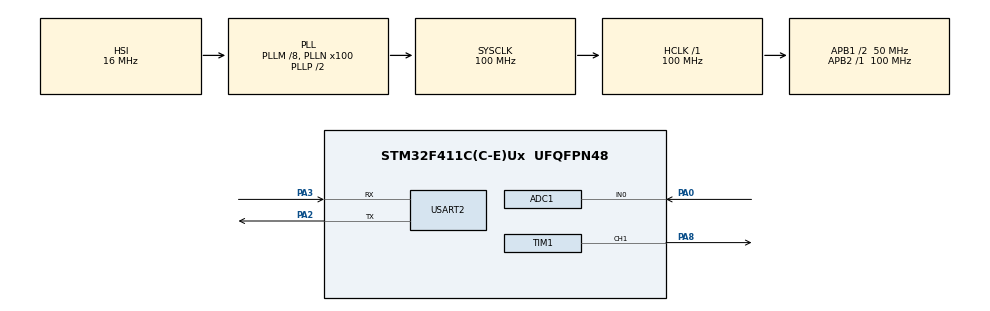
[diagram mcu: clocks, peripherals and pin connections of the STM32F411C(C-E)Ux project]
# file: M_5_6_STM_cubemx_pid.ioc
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ADC1.Channel-0\#ChannelRegularConversion=ADC_CHANNEL_0
ADC1.NbrOfConversionFlag=1
ADC1.Rank-0\#ChannelRegularConversion=1
ADC1.SamplingTime-0\#ChannelRegularConversion=ADC_SAMPLETIME_3CYCLES
ADC1.master=1
Mcu.Family=STM32F4
Mcu.Name=STM32F411C(C-E)Ux
Mcu.Package=UFQFPN48
NVIC.PriorityGroup=NVIC_PRIORITYGROUP_4
NVIC.TIM2_IRQn=true\:0\:0\:false\:false\:true\:true\:true\:true
NVIC.TIM3_IRQn=true\:0\:0\:false\:false\:true\:true\:true\:true
PA0-WKUP.Signal=ADCx_IN0
PA13.Mode=Serial_Wire
PA13.Signal=SYS_JTMS-SWDIO
PA14.Mode=Serial_Wire
PA14.Signal=SYS_JTCK-SWCLK
PA2.Mode=Asynchronous
PA2.Signal=USART2_TX
PA3.Mode=Asynchronous
PA3.Signal=USART2_RX
PA8.Signal=S_TIM1_CH1
PC14-OSC32_IN.Mode=LSE-External-Oscillator
PC14-OSC32_IN.Signal=RCC_OSC32_IN
PC15-OSC32_OUT.Mode=LSE-External-Oscillator
PC15-OSC32_OUT.Signal=RCC_OSC32_OUT
PH0\ -\ OSC_IN.Mode=HSE-External-Oscillator
PH0\ -\ OSC_IN.Signal=RCC_OSC_IN
PH1\ -\ OSC_OUT.Mode=HSE-External-Oscillator
PH1\ -\ OSC_OUT.Signal=RCC_OSC_OUT
ProjectManager.HeapSize=0x200
ProjectManager.StackSize=0x400
ProjectManager.TargetToolchain=STM32CubeIDE
RCC.48MHZClocksFreq_Value=50000000
RCC.AHBFreq_Value=100000000
RCC.APB1CLKDivider=RCC_HCLK_DIV2
RCC.APB1Freq_Value=50000000
RCC.APB1TimFreq_Value=100000000
RCC.APB2Freq_Value=100000000
RCC.APB2TimFreq_Value=100000000
RCC.CortexFreq_Value=100000000
RCC.HCLKFreq_Value=100000000
RCC.HSE_VALUE=25000000
RCC.HSI_VALUE=16000000
RCC.PLLM=8
RCC.PLLN=100
RCC.SYSCLKFreq_VALUE=100000000
RCC.SYSCLKSource=RCC_SYSCLKSOURCE_PLLCLK
RCC.VCOOutputFreq_Value=200000000
SH.ADCx_IN0.0=ADC1_IN0,IN0
SH.S_TIM1_CH1.0=TIM1_CH1,PWM Generation1 CH1
TIM1.Channel-PWM\ Generation1\ CH1=TIM_CHANNEL_1
TIM2.Period=9999
TIM2.Prescaler=9
USART2.VirtualMode=VM_ASYNC
VP_TIM1_VS_ClockSourceINT.Mode=Internal
VP_TIM2_VS_ClockSourceINT.Mode=Internal
VP_TIM3_VS_ClockSourceINT.Mode=Internal
board=custom

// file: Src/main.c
/* USER CODE BEGIN Header */
/**
 ******************************************************************************
 * @file           : main.c
 * @brief          : Main program body
 ******************************************************************************
 * @attention
 *
 * Copyright (c) 2026 STMicroelectronics.
 * All rights reserved.
 *
 * This software is licensed under terms that can be found in the LICENSE file
 * in the root directory of this software component.
 * If no LICENSE file comes with this software, it is provided AS-IS.
 *
 ******************************************************************************
 */
/* USER CODE END Header */
#include "main.h"

/* USER CODE BEGIN Includes */
#include "stdio.h"
#include "string.h"

/* USER CODE END Includes */

ADC_HandleTypeDef hadc1;

TIM_HandleTypeDef htim1;
TIM_HandleTypeDef htim2;
TIM_HandleTypeDef htim3;

UART_HandleTypeDef huart2;

/* USER CODE BEGIN PV */
char trans_str[128] = {
    0,
};
uint16_t adc = 0;
int setpoint = 2300;
float dt = 0.01;
float Kp = 10.0;  // 5.0
float Ki = 0.000; // 0.0001
float Kd = 0.000; // 0.005
int P = 0;
int I = 0;
int D = 0;
int err = 0;
int err0 = 0;
int errSUM = 0;
int out = 0;
int pwm = 0;
int ccr = 0;
volatile uint8_t pid_flag = 0;
volatile uint8_t print_flag = 0;
/* USER CODE END PV */

void SystemClock_Config(void);
static void MX_GPIO_Init(void);
static void MX_ADC1_Init(void);
static void MX_TIM1_Init(void);
static void MX_TIM2_Init(void);
static void MX_TIM3_Init(void);
static void MX_USART2_UART_Init(void);

int main(void)
{

  /* MCU Configuration--------------------------------------------------------*/

  /* Reset of all peripherals, Initializes the Flash interface and the Systick. */
  HAL_Init();

  /* Configure the system clock */
  SystemClock_Config();

  /* Initialize all configured peripherals */
  MX_GPIO_Init();
  MX_ADC1_Init();
  MX_TIM1_Init();
  MX_TIM2_Init();
  MX_TIM3_Init();
  MX_USART2_UART_Init();
  /* USER CODE BEGIN 2 */
  HAL_TIM_PWM_Start(&htim1, TIM_CHANNEL_1);
  HAL_TIM_Base_Start_IT(&htim2);
  HAL_TIM_Base_Start_IT(&htim3);

  /* USER CODE END 2 */

  /* Infinite loop */
  /* USER CODE BEGIN WHILE */
  while (1)
  {
    if (pid_flag)
    {
      pid_flag = 0;

      HAL_ADC_Start(&hadc1);

      if (HAL_ADC_PollForConversion(&hadc1, 1) == HAL_OK)
      {
        adc = HAL_ADC_GetValue(&hadc1);
      }

      // Розрахунок помилки
      err = setpoint - adc;

      // Інтегральна сумма помилок
      errSUM += err;

      // Пропорційна складова
      P = Kp * err;

      // Інтегральна складова
      I = Ki * errSUM;

      // Диференційна складова
      D = Kd * ((err - err0) / dt);

      // PID
      pwm = P + I + D;

      // Обмеження PWM
      if (pwm < 0)
        pwm = 0;

      if (pwm > 4095)
        pwm = 4095;

      // PWM
      TIM1->CCR1 = pwm * 16;
      // Для контроля
      ccr = TIM1->CCR1;
      // предыдущая ошибка
      err0 = err;
    }

    if (print_flag)
    {
      print_flag = 0;
      snprintf(trans_str, sizeof(trans_str), "adc = %d, err = %d,  pwm = %d, ccr = %d, P = %d, I = %d\r\n", adc, err, pwm, ccr, P, I);
      HAL_UART_Transmit(&huart2, (uint8_t *)trans_str, strlen(trans_str), 1000);
    }

    /* USER CODE END WHILE */

  }
}

void SystemClock_Config(void)
{
  RCC_OscInitTypeDef RCC_OscInitStruct = {0};
  RCC_ClkInitTypeDef RCC_ClkInitStruct = {0};

  /** Configure the main internal regulator output voltage
   */
  __HAL_RCC_PWR_CLK_ENABLE();
  __HAL_PWR_VOLTAGESCALING_CONFIG(PWR_REGULATOR_VOLTAGE_SCALE1);

  /** Initializes the RCC Oscillators according to the specified parameters
   * in the RCC_OscInitTypeDef structure.
   */
  RCC_OscInitStruct.OscillatorType = RCC_OSCILLATORTYPE_HSI;
  RCC_OscInitStruct.HSIState = RCC_HSI_ON;
  RCC_OscInitStruct.HSICalibrationValue = RCC_HSICALIBRATION_DEFAULT;
  RCC_OscInitStruct.PLL.PLLState = RCC_PLL_ON;
  RCC_OscInitStruct.PLL.PLLSource = RCC_PLLSOURCE_HSI;
  RCC_OscInitStruct.PLL.PLLM = 8;
  RCC_OscInitStruct.PLL.PLLN = 100;
  RCC_OscInitStruct.PLL.PLLP = RCC_PLLP_DIV2;
  RCC_OscInitStruct.PLL.PLLQ = 4;
  if (HAL_RCC_OscConfig(&RCC_OscInitStruct) != HAL_OK)
  {
    Error_Handler();
  }

  /** Initializes the CPU, AHB and APB buses clocks
   */
  RCC_ClkInitStruct.ClockType = RCC_CLOCKTYPE_HCLK | RCC_CLOCKTYPE_SYSCLK | RCC_CLOCKTYPE_PCLK1 | RCC_CLOCKTYPE_PCLK2;
  RCC_ClkInitStruct.SYSCLKSource = RCC_SYSCLKSOURCE_PLLCLK;
  RCC_ClkInitStruct.AHBCLKDivider = RCC_SYSCLK_DIV1;
  RCC_ClkInitStruct.APB1CLKDivider = RCC_HCLK_DIV2;
  RCC_ClkInitStruct.APB2CLKDivider = RCC_HCLK_DIV1;

  if (HAL_RCC_ClockConfig(&RCC_ClkInitStruct, FLASH_LATENCY_3) != HAL_OK)
  {
    Error_Handler();
  }
}

static void MX_ADC1_Init(void)
{

  ADC_ChannelConfTypeDef sConfig = {0};

  /** Configure the global features of the ADC (Clock, Resolution, Data Alignment and number of conversion)
   */
  hadc1.Instance = ADC1;
  hadc1.Init.ClockPrescaler = ADC_CLOCK_SYNC_PCLK_DIV4;
  hadc1.Init.Resolution = ADC_RESOLUTION_12B;
  hadc1.Init.ScanConvMode = DISABLE;
  hadc1.Init.ContinuousConvMode = DISABLE;
  hadc1.Init.DiscontinuousConvMode = DISABLE;
  hadc1.Init.ExternalTrigConvEdge = ADC_EXTERNALTRIGCONVEDGE_NONE;
  hadc1.Init.ExternalTrigConv = ADC_SOFTWARE_START;
  hadc1.Init.DataAlign = ADC_DATAALIGN_RIGHT;
  hadc1.Init.NbrOfConversion = 1;
  hadc1.Init.DMAContinuousRequests = DISABLE;
  hadc1.Init.EOCSelection = ADC_EOC_SINGLE_CONV;
  if (HAL_ADC_Init(&hadc1) != HAL_OK)
  {
    Error_Handler();
  }

  /** Configure for the selected ADC regular channel its corresponding rank in the sequencer and its sample time.
   */
  sConfig.Channel = ADC_CHANNEL_0;
  sConfig.Rank = 1;
  sConfig.SamplingTime = ADC_SAMPLETIME_3CYCLES;
  if (HAL_ADC_ConfigChannel(&hadc1, &sConfig) != HAL_OK)
  {
    Error_Handler();
  }
}

static void MX_TIM1_Init(void)
{

  TIM_ClockConfigTypeDef sClockSourceConfig = {0};
  TIM_MasterConfigTypeDef sMasterConfig = {0};
  TIM_OC_InitTypeDef sConfigOC = {0};
  TIM_BreakDeadTimeConfigTypeDef sBreakDeadTimeConfig = {0};

  htim1.Instance = TIM1;
  htim1.Init.Prescaler = 0;
  htim1.Init.CounterMode = TIM_COUNTERMODE_UP;
  htim1.Init.Period = 65535;
  htim1.Init.ClockDivision = TIM_CLOCKDIVISION_DIV1;
  htim1.Init.RepetitionCounter = 0;
  htim1.Init.AutoReloadPreload = TIM_AUTORELOAD_PRELOAD_DISABLE;
  if (HAL_TIM_Base_Init(&htim1) != HAL_OK)
  {
    Error_Handler();
  }
  sClockSourceConfig.ClockSource = TIM_CLOCKSOURCE_INTERNAL;
  if (HAL_TIM_ConfigClockSource(&htim1, &sClockSourceConfig) != HAL_OK)
  {
    Error_Handler();
  }
  if (HAL_TIM_PWM_Init(&htim1) != HAL_OK)
  {
    Error_Handler();
  }
  sMasterConfig.MasterOutputTrigger = TIM_TRGO_RESET;
  sMasterConfig.MasterSlaveMode = TIM_MASTERSLAVEMODE_DISABLE;
  if (HAL_TIMEx_MasterConfigSynchronization(&htim1, &sMasterConfig) != HAL_OK)
  {
    Error_Handler();
  }
  sConfigOC.OCMode = TIM_OCMODE_PWM1;
  sConfigOC.Pulse = 0;
  sConfigOC.OCPolarity = TIM_OCPOLARITY_HIGH;
  sConfigOC.OCNPolarity = TIM_OCNPOLARITY_HIGH;
  sConfigOC.OCFastMode = TIM_OCFAST_DISABLE;
  sConfigOC.OCIdleState = TIM_OCIDLESTATE_RESET;
  sConfigOC.OCNIdleState = TIM_OCNIDLESTATE_RESET;
  if (HAL_TIM_PWM_ConfigChannel(&htim1, &sConfigOC, TIM_CHANNEL_1) != HAL_OK)
  {
    Error_Handler();
  }
  sBreakDeadTimeConfig.OffStateRunMode = TIM_OSSR_DISABLE;
  sBreakDeadTimeConfig.OffStateIDLEMode = TIM_OSSI_DISABLE;
  sBreakDeadTimeConfig.LockLevel = TIM_LOCKLEVEL_OFF;
  sBreakDeadTimeConfig.DeadTime = 0;
  sBreakDeadTimeConfig.BreakState = TIM_BREAK_DISABLE;
  sBreakDeadTimeConfig.BreakPolarity = TIM_BREAKPOLARITY_HIGH;
  sBreakDeadTimeConfig.AutomaticOutput = TIM_AUTOMATICOUTPUT_DISABLE;
  if (HAL_TIMEx_ConfigBreakDeadTime(&htim1, &sBreakDeadTimeConfig) != HAL_OK)
  {
    Error_Handler();
  }
  HAL_TIM_MspPostInit(&htim1);
}

static void MX_TIM2_Init(void)
{

  TIM_ClockConfigTypeDef sClockSourceConfig = {0};
  TIM_MasterConfigTypeDef sMasterConfig = {0};

  htim2.Instance = TIM2;
  htim2.Init.Prescaler = 99;
  htim2.Init.CounterMode = TIM_COUNTERMODE_UP;
  htim2.Init.Period = 9999;
  htim2.Init.ClockDivision = TIM_CLOCKDIVISION_DIV1;
  htim2.Init.AutoReloadPreload = TIM_AUTORELOAD_PRELOAD_DISABLE;
  if (HAL_TIM_Base_Init(&htim2) != HAL_OK)
  {
    Error_Handler();
  }
  sClockSourceConfig.ClockSource = TIM_CLOCKSOURCE_INTERNAL;
  if (HAL_TIM_ConfigClockSource(&htim2, &sClockSourceConfig) != HAL_OK)
  {
    Error_Handler();
  }
  sMasterConfig.MasterOutputTrigger = TIM_TRGO_RESET;
  sMasterConfig.MasterSlaveMode = TIM_MASTERSLAVEMODE_DISABLE;
  if (HAL_TIMEx_MasterConfigSynchronization(&htim2, &sMasterConfig) != HAL_OK)
  {
    Error_Handler();
  }
}

static void MX_TIM3_Init(void)
{

  TIM_ClockConfigTypeDef sClockSourceConfig = {0};
  TIM_MasterConfigTypeDef sMasterConfig = {0};

  htim3.Instance = TIM3;
  htim3.Init.Prescaler = 9999;
  htim3.Init.CounterMode = TIM_COUNTERMODE_UP;
  htim3.Init.Period = 9999;
  htim3.Init.ClockDivision = TIM_CLOCKDIVISION_DIV1;
  htim3.Init.AutoReloadPreload = TIM_AUTORELOAD_PRELOAD_DISABLE;
  if (HAL_TIM_Base_Init(&htim3) != HAL_OK)
  {
    Error_Handler();
  }
  sClockSourceConfig.ClockSource = TIM_CLOCKSOURCE_INTERNAL;
  if (HAL_TIM_ConfigClockSource(&htim3, &sClockSourceConfig) != HAL_OK)
  {
    Error_Handler();
  }
  sMasterConfig.MasterOutputTrigger = TIM_TRGO_RESET;
  sMasterConfig.MasterSlaveMode = TIM_MASTERSLAVEMODE_DISABLE;
  if (HAL_TIMEx_MasterConfigSynchronization(&htim3, &sMasterConfig) != HAL_OK)
  {
    Error_Handler();
  }
}

static void MX_USART2_UART_Init(void)
{

  huart2.Instance = USART2;
  huart2.Init.BaudRate = 115200;
  huart2.Init.WordLength = UART_WORDLENGTH_8B;
  huart2.Init.StopBits = UART_STOPBITS_1;
  huart2.Init.Parity = UART_PARITY_NONE;
  huart2.Init.Mode = UART_MODE_TX_RX;
  huart2.Init.HwFlowCtl = UART_HWCONTROL_NONE;
  huart2.Init.OverSampling = UART_OVERSAMPLING_16;
  if (HAL_UART_Init(&huart2) != HAL_OK)
  {
    Error_Handler();
  }
}

static void MX_GPIO_Init(void)
{

  /* GPIO Ports Clock Enable */
  __HAL_RCC_GPIOC_CLK_ENABLE();
  __HAL_RCC_GPIOH_CLK_ENABLE();
  __HAL_RCC_GPIOA_CLK_ENABLE();

}

/* USER CODE BEGIN 4 */
void HAL_TIM_PeriodElapsedCallback(TIM_HandleTypeDef *htim)
{
  if (htim->Instance == TIM2)
  {
    pid_flag = 1;
  }
  else if (htim->Instance == TIM3)
  {
    print_flag = 1;
  }
}

/* USER CODE END 4 */

void Error_Handler(void)
{
  __disable_irq();
  while (1)
  {
  }
}
